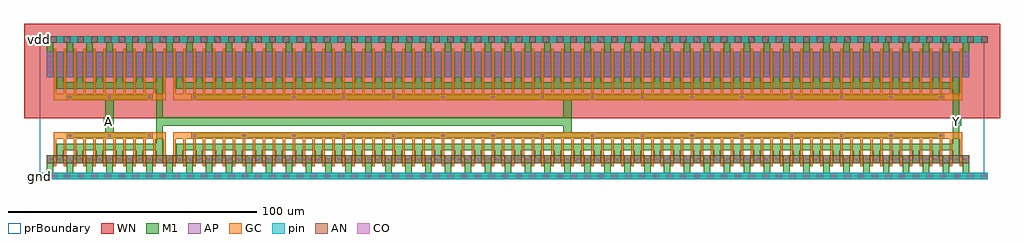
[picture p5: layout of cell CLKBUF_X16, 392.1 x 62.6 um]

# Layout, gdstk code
import gdstk
lib = gdstk.Library(unit=1e-6, precision=1e-09)
def R(c, l, rs):  # rectangles x0, y0, x1, y1
    for r in rs: c.add(gdstk.rectangle(r[:2], r[2:], *l))
def A(c, l, x, y, w, h, nx, ny, dx, dy):  # array of equal rectangles
    R(c, l, [(x+i*dx, y+j*dy, x+i*dx+w, y+j*dy+h) for i in range(nx) for j in range(ny)])
def P(c, l, *ps):  # polygons
    for p in ps: c.add(gdstk.Polygon(p, *l))
AP = (3, 1)
AN = (3, 2)
GC = (8, 1)
CO = (11, 0)
M1 = (13, 0)
pin = (48, 1)
WN = (140, 0)
prBoundary = (235, 0)

clkbuf_x16 = lib.new_cell('CLKBUF_X16')
A(clkbuf_x16, AP, -1.3, -1.3, 2.6, 2.6, 70, 1, 5.5, 0)
R(clkbuf_x16, AP, [(2.8,39.7,373.4,49.9), (2.8,39.7,373.4,49.9)])
A(clkbuf_x16, AN, -1.3, 53.7, 2.6, 2.6, 70, 1, 5.5, 0)
R(clkbuf_x16, AN, [(2.8,5.1,373.4,8.5)])
P(clkbuf_x16, GC, [(5.6,3.9),(5.6,17.7),(50.6,17.7),(50.6,3.9),(49.6,3.9),(49.6,15.1),(46.6,15.1),(46.6,3.9),(45.6,3.9),(45.6,15.1),(42.6,15.1),(42.6,3.9),(41.6,3.9),(41.6,15.1),(38.6,15.1),(38.6,3.9),(37.6,3.9),(37.6,15.1),(34.6,15.1),(34.6,3.9),(33.6,3.9),(33.6,15.1),(30.6,15.1),(30.6,3.9),(29.6,3.9),(29.6,15.1),(26.6,15.1),(26.6,3.9),(25.6,3.9),(25.6,15.1),(22.6,15.1),(22.6,3.9),(21.6,3.9),(21.6,15.1),(18.6,15.1),(18.6,3.9),(17.6,3.9),(17.6,15.1),(14.6,15.1),(14.6,3.9),(13.6,3.9),(13.6,15.1),(10.6,15.1),(10.6,3.9),(9.6,3.9),(9.6,15.1),(6.6,15.1),(6.6,3.9)],
  [(53.6,3.9),(53.6,17.7),(370.6,17.7),(370.6,3.9),(369.6,3.9),(369.6,15.1),(366.6,15.1),(366.6,3.9),(365.6,3.9),(365.6,15.1),(362.6,15.1),(362.6,3.9),(361.6,3.9),(361.6,15.1),(358.6,15.1),(358.6,3.9),(357.6,3.9),(357.6,15.1),(354.6,15.1),(354.6,3.9),(353.6,3.9),(353.6,15.1),(350.6,15.1),(350.6,3.9),(349.6,3.9),(349.6,15.1),(346.6,15.1),(346.6,3.9),(345.6,3.9),(345.6,15.1),(342.6,15.1),(342.6,3.9),(341.6,3.9),(341.6,15.1),(338.6,15.1),(338.6,3.9),(337.6,3.9),(337.6,15.1),(334.6,15.1),(334.6,3.9),(333.6,3.9),(333.6,15.1),(330.6,15.1),(330.6,3.9),(329.6,3.9),(329.6,15.1),(326.6,15.1),(326.6,3.9),(325.6,3.9),(325.6,15.1),(322.6,15.1),(322.6,3.9),(321.6,3.9),(321.6,15.1),(318.6,15.1),(318.6,3.9),(317.6,3.9),(317.6,15.1),(314.6,15.1),(314.6,3.9),(313.6,3.9),(313.6,15.1),(310.6,15.1),(310.6,3.9),(309.6,3.9),(309.6,15.1),(306.6,15.1),(306.6,3.9),(305.6,3.9),(305.6,15.1),(302.6,15.1),(302.6,3.9),(301.6,3.9),(301.6,15.1),(298.6,15.1),(298.6,3.9),(297.6,3.9),(297.6,15.1),(294.6,15.1),(294.6,3.9),(293.6,3.9),(293.6,15.1),(290.6,15.1),(290.6,3.9),(289.6,3.9),(289.6,15.1),(286.6,15.1),(286.6,3.9),(285.6,3.9),(285.6,15.1),(282.6,15.1),(282.6,3.9),(281.6,3.9),(281.6,15.1),(278.6,15.1),(278.6,3.9),(277.6,3.9),(277.6,15.1),(274.6,15.1),(274.6,3.9),(273.6,3.9),(273.6,15.1),(270.6,15.1),(270.6,3.9),(269.6,3.9),(269.6,15.1),(266.6,15.1),(266.6,3.9),(265.6,3.9),(265.6,15.1),(262.6,15.1),(262.6,3.9),(261.6,3.9),(261.6,15.1),(258.6,15.1),(258.6,3.9),(257.6,3.9),(257.6,15.1),(254.6,15.1),(254.6,3.9),(253.6,3.9),(253.6,15.1),(250.6,15.1),(250.6,3.9),(249.6,3.9),(249.6,15.1),(246.6,15.1),(246.6,3.9),(245.6,3.9),(245.6,15.1),(242.6,15.1),(242.6,3.9),(241.6,3.9),(241.6,15.1),(238.6,15.1),(238.6,3.9),(237.6,3.9),(237.6,15.1),(234.6,15.1),(234.6,3.9),(233.6,3.9),(233.6,15.1),(230.6,15.1),(230.6,3.9),(229.6,3.9),(229.6,15.1),(226.6,15.1),(226.6,3.9),(225.6,3.9),(225.6,15.1),(222.6,15.1),(222.6,3.9),(221.6,3.9),(221.6,15.1),(218.6,15.1),(218.6,3.9),(217.6,3.9),(217.6,15.1),(214.6,15.1),(214.6,3.9),(213.6,3.9),(213.6,15.1),(210.6,15.1),(210.6,3.9),(209.6,3.9),(209.6,15.1),(206.6,15.1),(206.6,3.9),(205.6,3.9),(205.6,15.1),(202.6,15.1),(202.6,3.9),(201.6,3.9),(201.6,15.1),(198.6,15.1),(198.6,3.9),(197.6,3.9),(197.6,15.1),(194.6,15.1),(194.6,3.9),(193.6,3.9),(193.6,15.1),(190.6,15.1),(190.6,3.9),(189.6,3.9),(189.6,15.1),(186.6,15.1),(186.6,3.9),(185.6,3.9),(185.6,15.1),(182.6,15.1),(182.6,3.9),(181.6,3.9),(181.6,15.1),(178.6,15.1),(178.6,3.9),(177.6,3.9),(177.6,15.1),(174.6,15.1),(174.6,3.9),(173.6,3.9),(173.6,15.1),(170.6,15.1),(170.6,3.9),(169.6,3.9),(169.6,15.1),(166.6,15.1),(166.6,3.9),(165.6,3.9),(165.6,15.1),(162.6,15.1),(162.6,3.9),(161.6,3.9),(161.6,15.1),(158.6,15.1),(158.6,3.9),(157.6,3.9),(157.6,15.1),(154.6,15.1),(154.6,3.9),(153.6,3.9),(153.6,15.1),(150.6,15.1),(150.6,3.9),(149.6,3.9),(149.6,15.1),(146.6,15.1),(146.6,3.9),(145.6,3.9),(145.6,15.1),(142.6,15.1),(142.6,3.9),(141.6,3.9),(141.6,15.1),(138.6,15.1),(138.6,3.9),(137.6,3.9),(137.6,15.1),(134.6,15.1),(134.6,3.9),(133.6,3.9),(133.6,15.1),(130.6,15.1),(130.6,3.9),(129.6,3.9),(129.6,15.1),(126.6,15.1),(126.6,3.9),(125.6,3.9),(125.6,15.1),(122.6,15.1),(122.6,3.9),(121.6,3.9),(121.6,15.1),(118.6,15.1),(118.6,3.9),(117.6,3.9),(117.6,15.1),(114.6,15.1),(114.6,3.9),(113.6,3.9),(113.6,15.1),(110.6,15.1),(110.6,3.9),(109.6,3.9),(109.6,15.1),(106.6,15.1),(106.6,3.9),(105.6,3.9),(105.6,15.1),(102.6,15.1),(102.6,3.9),(101.6,3.9),(101.6,15.1),(98.6,15.1),(98.6,3.9),(97.6,3.9),(97.6,15.1),(94.6,15.1),(94.6,3.9),(93.6,3.9),(93.6,15.1),(90.6,15.1),(90.6,3.9),(89.6,3.9),(89.6,15.1),(86.6,15.1),(86.6,3.9),(85.6,3.9),(85.6,15.1),(82.6,15.1),(82.6,3.9),(81.6,3.9),(81.6,15.1),(78.6,15.1),(78.6,3.9),(77.6,3.9),(77.6,15.1),(74.6,15.1),(74.6,3.9),(73.6,3.9),(73.6,15.1),(70.6,15.1),(70.6,3.9),(69.6,3.9),(69.6,15.1),(66.6,15.1),(66.6,3.9),(65.6,3.9),(65.6,15.1),(62.6,15.1),(62.6,3.9),(61.6,3.9),(61.6,15.1),(58.6,15.1),(58.6,3.9),(57.6,3.9),(57.6,15.1),(54.6,15.1),(54.6,3.9)],
  [(5.6,30.5),(5.6,51.1),(6.6,51.1),(6.6,33.1),(9.6,33.1),(9.6,51.1),(10.6,51.1),(10.6,33.1),(13.6,33.1),(13.6,51.1),(14.6,51.1),(14.6,33.1),(17.6,33.1),(17.6,51.1),(18.6,51.1),(18.6,33.1),(21.6,33.1),(21.6,51.1),(22.6,51.1),(22.6,33.1),(25.6,33.1),(25.6,51.1),(26.6,51.1),(26.6,33.1),(29.6,33.1),(29.6,51.1),(30.6,51.1),(30.6,33.1),(33.6,33.1),(33.6,51.1),(34.6,51.1),(34.6,33.1),(37.6,33.1),(37.6,51.1),(38.6,51.1),(38.6,33.1),(41.6,33.1),(41.6,51.1),(42.6,51.1),(42.6,33.1),(45.6,33.1),(45.6,51.1),(46.6,51.1),(46.6,33.1),(49.6,33.1),(49.6,51.1),(50.6,51.1),(50.6,30.5)],
  [(53.6,30.5),(53.6,51.1),(54.6,51.1),(54.6,33.1),(57.6,33.1),(57.6,51.1),(58.6,51.1),(58.6,33.1),(61.6,33.1),(61.6,51.1),(62.6,51.1),(62.6,33.1),(65.6,33.1),(65.6,51.1),(66.6,51.1),(66.6,33.1),(69.6,33.1),(69.6,51.1),(70.6,51.1),(70.6,33.1),(73.6,33.1),(73.6,51.1),(74.6,51.1),(74.6,33.1),(77.6,33.1),(77.6,51.1),(78.6,51.1),(78.6,33.1),(81.6,33.1),(81.6,51.1),(82.6,51.1),(82.6,33.1),(85.6,33.1),(85.6,51.1),(86.6,51.1),(86.6,33.1),(89.6,33.1),(89.6,51.1),(90.6,51.1),(90.6,33.1),(93.6,33.1),(93.6,51.1),(94.6,51.1),(94.6,33.1),(97.6,33.1),(97.6,51.1),(98.6,51.1),(98.6,33.1),(101.6,33.1),(101.6,51.1),(102.6,51.1),(102.6,33.1),(105.6,33.1),(105.6,51.1),(106.6,51.1),(106.6,33.1),(109.6,33.1),(109.6,51.1),(110.6,51.1),(110.6,33.1),(113.6,33.1),(113.6,51.1),(114.6,51.1),(114.6,33.1),(117.6,33.1),(117.6,51.1),(118.6,51.1),(118.6,33.1),(121.6,33.1),(121.6,51.1),(122.6,51.1),(122.6,33.1),(125.6,33.1),(125.6,51.1),(126.6,51.1),(126.6,33.1),(129.6,33.1),(129.6,51.1),(130.6,51.1),(130.6,33.1),(133.6,33.1),(133.6,51.1),(134.6,51.1),(134.6,33.1),(137.6,33.1),(137.6,51.1),(138.6,51.1),(138.6,33.1),(141.6,33.1),(141.6,51.1),(142.6,51.1),(142.6,33.1),(145.6,33.1),(145.6,51.1),(146.6,51.1),(146.6,33.1),(149.6,33.1),(149.6,51.1),(150.6,51.1),(150.6,33.1),(153.6,33.1),(153.6,51.1),(154.6,51.1),(154.6,33.1),(157.6,33.1),(157.6,51.1),(158.6,51.1),(158.6,33.1),(161.6,33.1),(161.6,51.1),(162.6,51.1),(162.6,33.1),(165.6,33.1),(165.6,51.1),(166.6,51.1),(166.6,33.1),(169.6,33.1),(169.6,51.1),(170.6,51.1),(170.6,33.1),(173.6,33.1),(173.6,51.1),(174.6,51.1),(174.6,33.1),(177.6,33.1),(177.6,51.1),(178.6,51.1),(178.6,33.1),(181.6,33.1),(181.6,51.1),(182.6,51.1),(182.6,33.1),(185.6,33.1),(185.6,51.1),(186.6,51.1),(186.6,33.1),(189.6,33.1),(189.6,51.1),(190.6,51.1),(190.6,33.1),(193.6,33.1),(193.6,51.1),(194.6,51.1),(194.6,33.1),(197.6,33.1),(197.6,51.1),(198.6,51.1),(198.6,33.1),(201.6,33.1),(201.6,51.1),(202.6,51.1),(202.6,33.1),(205.6,33.1),(205.6,51.1),(206.6,51.1),(206.6,33.1),(209.6,33.1),(209.6,51.1),(210.6,51.1),(210.6,33.1),(213.6,33.1),(213.6,51.1),(214.6,51.1),(214.6,33.1),(217.6,33.1),(217.6,51.1),(218.6,51.1),(218.6,33.1),(221.6,33.1),(221.6,51.1),(222.6,51.1),(222.6,33.1),(225.6,33.1),(225.6,51.1),(226.6,51.1),(226.6,33.1),(229.6,33.1),(229.6,51.1),(230.6,51.1),(230.6,33.1),(233.6,33.1),(233.6,51.1),(234.6,51.1),(234.6,33.1),(237.6,33.1),(237.6,51.1),(238.6,51.1),(238.6,33.1),(241.6,33.1),(241.6,51.1),(242.6,51.1),(242.6,33.1),(245.6,33.1),(245.6,51.1),(246.6,51.1),(246.6,33.1),(249.6,33.1),(249.6,51.1),(250.6,51.1),(250.6,33.1),(253.6,33.1),(253.6,51.1),(254.6,51.1),(254.6,33.1),(257.6,33.1),(257.6,51.1),(258.6,51.1),(258.6,33.1),(261.6,33.1),(261.6,51.1),(262.6,51.1),(262.6,33.1),(265.6,33.1),(265.6,51.1),(266.6,51.1),(266.6,33.1),(269.6,33.1),(269.6,51.1),(270.6,51.1),(270.6,33.1),(273.6,33.1),(273.6,51.1),(274.6,51.1),(274.6,33.1),(277.6,33.1),(277.6,51.1),(278.6,51.1),(278.6,33.1),(281.6,33.1),(281.6,51.1),(282.6,51.1),(282.6,33.1),(285.6,33.1),(285.6,51.1),(286.6,51.1),(286.6,33.1),(289.6,33.1),(289.6,51.1),(290.6,51.1),(290.6,33.1),(293.6,33.1),(293.6,51.1),(294.6,51.1),(294.6,33.1),(297.6,33.1),(297.6,51.1),(298.6,51.1),(298.6,33.1),(301.6,33.1),(301.6,51.1),(302.6,51.1),(302.6,33.1),(305.6,33.1),(305.6,51.1),(306.6,51.1),(306.6,33.1),(309.6,33.1),(309.6,51.1),(310.6,51.1),(310.6,33.1),(313.6,33.1),(313.6,51.1),(314.6,51.1),(314.6,33.1),(317.6,33.1),(317.6,51.1),(318.6,51.1),(318.6,33.1),(321.6,33.1),(321.6,51.1),(322.6,51.1),(322.6,33.1),(325.6,33.1),(325.6,51.1),(326.6,51.1),(326.6,33.1),(329.6,33.1),(329.6,51.1),(330.6,51.1),(330.6,33.1),(333.6,33.1),(333.6,51.1),(334.6,51.1),(334.6,33.1),(337.6,33.1),(337.6,51.1),(338.6,51.1),(338.6,33.1),(341.6,33.1),(341.6,51.1),(342.6,51.1),(342.6,33.1),(345.6,33.1),(345.6,51.1),(346.6,51.1),(346.6,33.1),(349.6,33.1),(349.6,51.1),(350.6,51.1),(350.6,33.1),(353.6,33.1),(353.6,51.1),(354.6,51.1),(354.6,33.1),(357.6,33.1),(357.6,51.1),(358.6,51.1),(358.6,33.1),(361.6,33.1),(361.6,51.1),(362.6,51.1),(362.6,33.1),(365.6,33.1),(365.6,51.1),(366.6,51.1),(366.6,33.1),(369.6,33.1),(369.6,51.1),(370.6,51.1),(370.6,30.5)])
A(clkbuf_x16, CO, -0.5, -0.5, 1, 1, 70, 2, 5.5, 55)
A(clkbuf_x16, CO, 3.6, 6.3, 1, 1, 13, 2, 4, 35)
A(clkbuf_x16, CO, 51.6, 6.3, 1, 1, 81, 2, 4, 35)
A(clkbuf_x16, CO, 11.6, 15.9, 1, 1, 3, 2, 16, 15.4)
A(clkbuf_x16, CO, 61.6, 15.9, 1, 1, 16, 2, 20, 15.4)
A(clkbuf_x16, CO, 51.6, 41.3, 1, 1, 1, 4, 0, 2)
A(clkbuf_x16, CO, 371.6, 41.3, 1, 1, 1, 4, 0, 2)
A(clkbuf_x16, CO, 3.6, 43.3, 1, 1, 13, 3, 4, 2)
A(clkbuf_x16, CO, 51.6, 43.3, 1, 1, 81, 3, 4, 2)
P(clkbuf_x16, M1, [(2.8,39.7),(2.8,53.7),(-1.3,53.7),(-1.3,56.3),(380.8,56.3),(380.8,53.7),(373.4,53.7),(373.4,39.7),(370.8,39.7),(370.8,53.7),(365.4,53.7),(365.4,39.7),(362.8,39.7),(362.8,53.7),(357.4,53.7),(357.4,39.7),(354.8,39.7),(354.8,53.7),(349.4,53.7),(349.4,39.7),(346.8,39.7),(346.8,53.7),(341.4,53.7),(341.4,39.7),(338.8,39.7),(338.8,53.7),(333.4,53.7),(333.4,39.7),(330.8,39.7),(330.8,53.7),(325.4,53.7),(325.4,39.7),(322.8,39.7),(322.8,53.7),(317.4,53.7),(317.4,39.7),(314.8,39.7),(314.8,53.7),(309.4,53.7),(309.4,39.7),(306.8,39.7),(306.8,53.7),(301.4,53.7),(301.4,39.7),(298.8,39.7),(298.8,53.7),(293.4,53.7),(293.4,39.7),(290.8,39.7),(290.8,53.7),(285.4,53.7),(285.4,39.7),(282.8,39.7),(282.8,53.7),(277.4,53.7),(277.4,39.7),(274.8,39.7),(274.8,53.7),(269.4,53.7),(269.4,39.7),(266.8,39.7),(266.8,53.7),(261.4,53.7),(261.4,39.7),(258.8,39.7),(258.8,53.7),(253.4,53.7),(253.4,39.7),(250.8,39.7),(250.8,53.7),(245.4,53.7),(245.4,39.7),(242.8,39.7),(242.8,53.7),(237.4,53.7),(237.4,39.7),(234.8,39.7),(234.8,53.7),(229.4,53.7),(229.4,39.7),(226.8,39.7),(226.8,53.7),(221.4,53.7),(221.4,39.7),(218.8,39.7),(218.8,53.7),(213.4,53.7),(213.4,39.7),(210.8,39.7),(210.8,53.7),(205.4,53.7),(205.4,39.7),(202.8,39.7),(202.8,53.7),(197.4,53.7),(197.4,39.7),(194.8,39.7),(194.8,53.7),(189.4,53.7),(189.4,39.7),(186.8,39.7),(186.8,53.7),(181.4,53.7),(181.4,39.7),(178.8,39.7),(178.8,53.7),(173.4,53.7),(173.4,39.7),(170.8,39.7),(170.8,53.7),(165.4,53.7),(165.4,39.7),(162.8,39.7),(162.8,53.7),(157.4,53.7),(157.4,39.7),(154.8,39.7),(154.8,53.7),(149.4,53.7),(149.4,39.7),(146.8,39.7),(146.8,53.7),(141.4,53.7),(141.4,39.7),(138.8,39.7),(138.8,53.7),(133.4,53.7),(133.4,39.7),(130.8,39.7),(130.8,53.7),(125.4,53.7),(125.4,39.7),(122.8,39.7),(122.8,53.7),(117.4,53.7),(117.4,39.7),(114.8,39.7),(114.8,53.7),(109.4,53.7),(109.4,39.7),(106.8,39.7),(106.8,53.7),(101.4,53.7),(101.4,39.7),(98.8,39.7),(98.8,53.7),(93.4,53.7),(93.4,39.7),(90.8,39.7),(90.8,53.7),(85.4,53.7),(85.4,39.7),(82.8,39.7),(82.8,53.7),(77.4,53.7),(77.4,39.7),(74.8,39.7),(74.8,53.7),(69.4,53.7),(69.4,39.7),(66.8,39.7),(66.8,53.7),(61.4,53.7),(61.4,39.7),(58.8,39.7),(58.8,53.7),(53.4,53.7),(53.4,39.7),(50.8,39.7),(50.8,53.7),(45.4,53.7),(45.4,39.7),(42.8,39.7),(42.8,53.7),(37.4,53.7),(37.4,39.7),(34.8,39.7),(34.8,53.7),(29.4,53.7),(29.4,39.7),(26.8,39.7),(26.8,53.7),(21.4,53.7),(21.4,39.7),(18.8,39.7),(18.8,53.7),(13.4,53.7),(13.4,39.7),(10.8,39.7),(10.8,53.7),(5.4,53.7),(5.4,39.7)],
  [(-1.3,-1.3),(-1.3,1.3),(2.8,1.3),(2.8,8.5),(5.4,8.5),(5.4,1.3),(10.8,1.3),(10.8,8.5),(13.4,8.5),(13.4,1.3),(18.8,1.3),(18.8,8.5),(21.4,8.5),(21.4,1.3),(26.8,1.3),(26.8,8.5),(29.4,8.5),(29.4,1.3),(34.8,1.3),(34.8,8.5),(37.4,8.5),(37.4,1.3),(42.8,1.3),(42.8,8.5),(45.4,8.5),(45.4,1.3),(50.8,1.3),(50.8,8.5),(53.4,8.5),(53.4,1.3),(58.8,1.3),(58.8,8.5),(61.4,8.5),(61.4,1.3),(66.8,1.3),(66.8,8.5),(69.4,8.5),(69.4,1.3),(74.8,1.3),(74.8,8.5),(77.4,8.5),(77.4,1.3),(82.8,1.3),(82.8,8.5),(85.4,8.5),(85.4,1.3),(90.8,1.3),(90.8,8.5),(93.4,8.5),(93.4,1.3),(98.8,1.3),(98.8,8.5),(101.4,8.5),(101.4,1.3),(106.8,1.3),(106.8,8.5),(109.4,8.5),(109.4,1.3),(114.8,1.3),(114.8,8.5),(117.4,8.5),(117.4,1.3),(122.8,1.3),(122.8,8.5),(125.4,8.5),(125.4,1.3),(130.8,1.3),(130.8,8.5),(133.4,8.5),(133.4,1.3),(138.8,1.3),(138.8,8.5),(141.4,8.5),(141.4,1.3),(146.8,1.3),(146.8,8.5),(149.4,8.5),(149.4,1.3),(154.8,1.3),(154.8,8.5),(157.4,8.5),(157.4,1.3),(162.8,1.3),(162.8,8.5),(165.4,8.5),(165.4,1.3),(170.8,1.3),(170.8,8.5),(173.4,8.5),(173.4,1.3),(178.8,1.3),(178.8,8.5),(181.4,8.5),(181.4,1.3),(186.8,1.3),(186.8,8.5),(189.4,8.5),(189.4,1.3),(194.8,1.3),(194.8,8.5),(197.4,8.5),(197.4,1.3),(202.8,1.3),(202.8,8.5),(205.4,8.5),(205.4,1.3),(210.8,1.3),(210.8,8.5),(213.4,8.5),(213.4,1.3),(218.8,1.3),(218.8,8.5),(221.4,8.5),(221.4,1.3),(226.8,1.3),(226.8,8.5),(229.4,8.5),(229.4,1.3),(234.8,1.3),(234.8,8.5),(237.4,8.5),(237.4,1.3),(242.8,1.3),(242.8,8.5),(245.4,8.5),(245.4,1.3),(250.8,1.3),(250.8,8.5),(253.4,8.5),(253.4,1.3),(258.8,1.3),(258.8,8.5),(261.4,8.5),(261.4,1.3),(266.8,1.3),(266.8,8.5),(269.4,8.5),(269.4,1.3),(274.8,1.3),(274.8,8.5),(277.4,8.5),(277.4,1.3),(282.8,1.3),(282.8,8.5),(285.4,8.5),(285.4,1.3),(290.8,1.3),(290.8,8.5),(293.4,8.5),(293.4,1.3),(298.8,1.3),(298.8,8.5),(301.4,8.5),(301.4,1.3),(306.8,1.3),(306.8,8.5),(309.4,8.5),(309.4,1.3),(314.8,1.3),(314.8,8.5),(317.4,8.5),(317.4,1.3),(322.8,1.3),(322.8,8.5),(325.4,8.5),(325.4,1.3),(330.8,1.3),(330.8,8.5),(333.4,8.5),(333.4,1.3),(338.8,1.3),(338.8,8.5),(341.4,8.5),(341.4,1.3),(346.8,1.3),(346.8,8.5),(349.4,8.5),(349.4,1.3),(354.8,1.3),(354.8,8.5),(357.4,8.5),(357.4,1.3),(362.8,1.3),(362.8,8.5),(365.4,8.5),(365.4,1.3),(370.8,1.3),(370.8,8.5),(373.4,8.5),(373.4,1.3),(380.8,1.3),(380.8,-1.3)],
  [(10.8,15.1),(10.8,17.7),(13.4,17.7),(13.4,17.4),(26.4,17.4),(26.4,20.3),(25.8,20.3),(25.8,23.7),(26.4,23.7),(26.4,30.8),(13.4,30.8),(13.4,30.5),(10.8,30.5),(10.8,33.1),(13.4,33.1),(13.4,32.8),(26.8,32.8),(26.8,33.1),(29.4,33.1),(29.4,32.8),(42.8,32.8),(42.8,33.1),(45.4,33.1),(45.4,30.5),(42.8,30.5),(42.8,30.8),(29.8,30.8),(29.8,17.4),(42.8,17.4),(42.8,17.7),(45.4,17.7),(45.4,15.1),(42.8,15.1),(42.8,15.4),(29.4,15.4),(29.4,15.1),(26.8,15.1),(26.8,15.4),(13.4,15.4),(13.4,15.1)],
  [(6.8,5.1),(6.8,13.1),(46.8,13.1),(46.8,35.1),(6.8,35.1),(6.8,49.9),(9.4,49.9),(9.4,37.7),(14.8,37.7),(14.8,49.9),(17.4,49.9),(17.4,37.7),(22.8,37.7),(22.8,49.9),(25.4,49.9),(25.4,37.7),(30.8,37.7),(30.8,49.9),(33.4,49.9),(33.4,37.7),(38.8,37.7),(38.8,49.9),(41.4,49.9),(41.4,37.7),(46.8,37.7),(46.8,49.9),(49.4,49.9),(49.4,23.7),(210.4,23.7),(210.4,30.8),(203.4,30.8),(203.4,30.5),(200.8,30.5),(200.8,30.8),(183.4,30.8),(183.4,30.5),(180.8,30.5),(180.8,30.8),(163.4,30.8),(163.4,30.5),(160.8,30.5),(160.8,30.8),(143.4,30.8),(143.4,30.5),(140.8,30.5),(140.8,30.8),(123.4,30.8),(123.4,30.5),(120.8,30.5),(120.8,30.8),(103.4,30.8),(103.4,30.5),(100.8,30.5),(100.8,30.8),(83.4,30.8),(83.4,30.5),(80.8,30.5),(80.8,30.8),(63.4,30.8),(63.4,30.5),(60.8,30.5),(60.8,33.1),(63.4,33.1),(63.4,32.8),(80.8,32.8),(80.8,33.1),(83.4,33.1),(83.4,32.8),(100.8,32.8),(100.8,33.1),(103.4,33.1),(103.4,32.8),(120.8,32.8),(120.8,33.1),(123.4,33.1),(123.4,32.8),(140.8,32.8),(140.8,33.1),(143.4,33.1),(143.4,32.8),(160.8,32.8),(160.8,33.1),(163.4,33.1),(163.4,32.8),(180.8,32.8),(180.8,33.1),(183.4,33.1),(183.4,32.8),(200.8,32.8),(200.8,33.1),(203.4,33.1),(203.4,32.8),(220.8,32.8),(220.8,33.1),(223.4,33.1),(223.4,32.8),(240.8,32.8),(240.8,33.1),(243.4,33.1),(243.4,32.8),(260.8,32.8),(260.8,33.1),(263.4,33.1),(263.4,32.8),(280.8,32.8),(280.8,33.1),(283.4,33.1),(283.4,32.8),(300.8,32.8),(300.8,33.1),(303.4,33.1),(303.4,32.8),(320.8,32.8),(320.8,33.1),(323.4,33.1),(323.4,32.8),(340.8,32.8),(340.8,33.1),(343.4,33.1),(343.4,32.8),(360.8,32.8),(360.8,33.1),(363.4,33.1),(363.4,30.5),(360.8,30.5),(360.8,30.8),(343.4,30.8),(343.4,30.5),(340.8,30.5),(340.8,30.8),(323.4,30.8),(323.4,30.5),(320.8,30.5),(320.8,30.8),(303.4,30.8),(303.4,30.5),(300.8,30.5),(300.8,30.8),(283.4,30.8),(283.4,30.5),(280.8,30.5),(280.8,30.8),(263.4,30.8),(263.4,30.5),(260.8,30.5),(260.8,30.8),(243.4,30.8),(243.4,30.5),(240.8,30.5),(240.8,30.8),(223.4,30.8),(223.4,30.5),(220.8,30.5),(220.8,30.8),(213.8,30.8),(213.8,17.4),(220.8,17.4),(220.8,17.7),(223.4,17.7),(223.4,17.4),(240.8,17.4),(240.8,17.7),(243.4,17.7),(243.4,17.4),(260.8,17.4),(260.8,17.7),(263.4,17.7),(263.4,17.4),(280.8,17.4),(280.8,17.7),(283.4,17.7),(283.4,17.4),(300.8,17.4),(300.8,17.7),(303.4,17.7),(303.4,17.4),(320.8,17.4),(320.8,17.7),(323.4,17.7),(323.4,17.4),(340.8,17.4),(340.8,17.7),(343.4,17.7),(343.4,17.4),(360.8,17.4),(360.8,17.7),(363.4,17.7),(363.4,15.1),(360.8,15.1),(360.8,15.4),(343.4,15.4),(343.4,15.1),(340.8,15.1),(340.8,15.4),(323.4,15.4),(323.4,15.1),(320.8,15.1),(320.8,15.4),(303.4,15.4),(303.4,15.1),(300.8,15.1),(300.8,15.4),(283.4,15.4),(283.4,15.1),(280.8,15.1),(280.8,15.4),(263.4,15.4),(263.4,15.1),(260.8,15.1),(260.8,15.4),(243.4,15.4),(243.4,15.1),(240.8,15.1),(240.8,15.4),(223.4,15.4),(223.4,15.1),(220.8,15.1),(220.8,15.4),(203.4,15.4),(203.4,15.1),(200.8,15.1),(200.8,15.4),(183.4,15.4),(183.4,15.1),(180.8,15.1),(180.8,15.4),(163.4,15.4),(163.4,15.1),(160.8,15.1),(160.8,15.4),(143.4,15.4),(143.4,15.1),(140.8,15.1),(140.8,15.4),(123.4,15.4),(123.4,15.1),(120.8,15.1),(120.8,15.4),(103.4,15.4),(103.4,15.1),(100.8,15.1),(100.8,15.4),(83.4,15.4),(83.4,15.1),(80.8,15.1),(80.8,15.4),(63.4,15.4),(63.4,15.1),(60.8,15.1),(60.8,17.7),(63.4,17.7),(63.4,17.4),(80.8,17.4),(80.8,17.7),(83.4,17.7),(83.4,17.4),(100.8,17.4),(100.8,17.7),(103.4,17.7),(103.4,17.4),(120.8,17.4),(120.8,17.7),(123.4,17.7),(123.4,17.4),(140.8,17.4),(140.8,17.7),(143.4,17.7),(143.4,17.4),(160.8,17.4),(160.8,17.7),(163.4,17.7),(163.4,17.4),(180.8,17.4),(180.8,17.7),(183.4,17.7),(183.4,17.4),(200.8,17.4),(200.8,17.7),(203.4,17.7),(203.4,17.4),(210.4,17.4),(210.4,20.3),(49.4,20.3),(49.4,5.1),(46.8,5.1),(46.8,10.5),(41.4,10.5),(41.4,5.1),(38.8,5.1),(38.8,10.5),(33.4,10.5),(33.4,5.1),(30.8,5.1),(30.8,10.5),(25.4,10.5),(25.4,5.1),(22.8,5.1),(22.8,10.5),(17.4,10.5),(17.4,5.1),(14.8,5.1),(14.8,10.5),(9.4,10.5),(9.4,5.1)],
  [(54.8,5.1),(54.8,13.1),(366.8,13.1),(366.8,35.1),(54.8,35.1),(54.8,49.9),(57.4,49.9),(57.4,37.7),(62.8,37.7),(62.8,49.9),(65.4,49.9),(65.4,37.7),(70.8,37.7),(70.8,49.9),(73.4,49.9),(73.4,37.7),(78.8,37.7),(78.8,49.9),(81.4,49.9),(81.4,37.7),(86.8,37.7),(86.8,49.9),(89.4,49.9),(89.4,37.7),(94.8,37.7),(94.8,49.9),(97.4,49.9),(97.4,37.7),(102.8,37.7),(102.8,49.9),(105.4,49.9),(105.4,37.7),(110.8,37.7),(110.8,49.9),(113.4,49.9),(113.4,37.7),(118.8,37.7),(118.8,49.9),(121.4,49.9),(121.4,37.7),(126.8,37.7),(126.8,49.9),(129.4,49.9),(129.4,37.7),(134.8,37.7),(134.8,49.9),(137.4,49.9),(137.4,37.7),(142.8,37.7),(142.8,49.9),(145.4,49.9),(145.4,37.7),(150.8,37.7),(150.8,49.9),(153.4,49.9),(153.4,37.7),(158.8,37.7),(158.8,49.9),(161.4,49.9),(161.4,37.7),(166.8,37.7),(166.8,49.9),(169.4,49.9),(169.4,37.7),(174.8,37.7),(174.8,49.9),(177.4,49.9),(177.4,37.7),(182.8,37.7),(182.8,49.9),(185.4,49.9),(185.4,37.7),(190.8,37.7),(190.8,49.9),(193.4,49.9),(193.4,37.7),(198.8,37.7),(198.8,49.9),(201.4,49.9),(201.4,37.7),(206.8,37.7),(206.8,49.9),(209.4,49.9),(209.4,37.7),(214.8,37.7),(214.8,49.9),(217.4,49.9),(217.4,37.7),(222.8,37.7),(222.8,49.9),(225.4,49.9),(225.4,37.7),(230.8,37.7),(230.8,49.9),(233.4,49.9),(233.4,37.7),(238.8,37.7),(238.8,49.9),(241.4,49.9),(241.4,37.7),(246.8,37.7),(246.8,49.9),(249.4,49.9),(249.4,37.7),(254.8,37.7),(254.8,49.9),(257.4,49.9),(257.4,37.7),(262.8,37.7),(262.8,49.9),(265.4,49.9),(265.4,37.7),(270.8,37.7),(270.8,49.9),(273.4,49.9),(273.4,37.7),(278.8,37.7),(278.8,49.9),(281.4,49.9),(281.4,37.7),(286.8,37.7),(286.8,49.9),(289.4,49.9),(289.4,37.7),(294.8,37.7),(294.8,49.9),(297.4,49.9),(297.4,37.7),(302.8,37.7),(302.8,49.9),(305.4,49.9),(305.4,37.7),(310.8,37.7),(310.8,49.9),(313.4,49.9),(313.4,37.7),(318.8,37.7),(318.8,49.9),(321.4,49.9),(321.4,37.7),(326.8,37.7),(326.8,49.9),(329.4,49.9),(329.4,37.7),(334.8,37.7),(334.8,49.9),(337.4,49.9),(337.4,37.7),(342.8,37.7),(342.8,49.9),(345.4,49.9),(345.4,37.7),(350.8,37.7),(350.8,49.9),(353.4,49.9),(353.4,37.7),(358.8,37.7),(358.8,49.9),(361.4,49.9),(361.4,37.7),(366.8,37.7),(366.8,49.9),(369.4,49.9),(369.4,23.7),(370.2,23.7),(370.2,20.3),(369.4,20.3),(369.4,5.1),(366.8,5.1),(366.8,10.5),(361.4,10.5),(361.4,5.1),(358.8,5.1),(358.8,10.5),(353.4,10.5),(353.4,5.1),(350.8,5.1),(350.8,10.5),(345.4,10.5),(345.4,5.1),(342.8,5.1),(342.8,10.5),(337.4,10.5),(337.4,5.1),(334.8,5.1),(334.8,10.5),(329.4,10.5),(329.4,5.1),(326.8,5.1),(326.8,10.5),(321.4,10.5),(321.4,5.1),(318.8,5.1),(318.8,10.5),(313.4,10.5),(313.4,5.1),(310.8,5.1),(310.8,10.5),(305.4,10.5),(305.4,5.1),(302.8,5.1),(302.8,10.5),(297.4,10.5),(297.4,5.1),(294.8,5.1),(294.8,10.5),(289.4,10.5),(289.4,5.1),(286.8,5.1),(286.8,10.5),(281.4,10.5),(281.4,5.1),(278.8,5.1),(278.8,10.5),(273.4,10.5),(273.4,5.1),(270.8,5.1),(270.8,10.5),(265.4,10.5),(265.4,5.1),(262.8,5.1),(262.8,10.5),(257.4,10.5),(257.4,5.1),(254.8,5.1),(254.8,10.5),(249.4,10.5),(249.4,5.1),(246.8,5.1),(246.8,10.5),(241.4,10.5),(241.4,5.1),(238.8,5.1),(238.8,10.5),(233.4,10.5),(233.4,5.1),(230.8,5.1),(230.8,10.5),(225.4,10.5),(225.4,5.1),(222.8,5.1),(222.8,10.5),(217.4,10.5),(217.4,5.1),(214.8,5.1),(214.8,10.5),(209.4,10.5),(209.4,5.1),(206.8,5.1),(206.8,10.5),(201.4,10.5),(201.4,5.1),(198.8,5.1),(198.8,10.5),(193.4,10.5),(193.4,5.1),(190.8,5.1),(190.8,10.5),(185.4,10.5),(185.4,5.1),(182.8,5.1),(182.8,10.5),(177.4,10.5),(177.4,5.1),(174.8,5.1),(174.8,10.5),(169.4,10.5),(169.4,5.1),(166.8,5.1),(166.8,10.5),(161.4,10.5),(161.4,5.1),(158.8,5.1),(158.8,10.5),(153.4,10.5),(153.4,5.1),(150.8,5.1),(150.8,10.5),(145.4,10.5),(145.4,5.1),(142.8,5.1),(142.8,10.5),(137.4,10.5),(137.4,5.1),(134.8,5.1),(134.8,10.5),(129.4,10.5),(129.4,5.1),(126.8,5.1),(126.8,10.5),(121.4,10.5),(121.4,5.1),(118.8,5.1),(118.8,10.5),(113.4,10.5),(113.4,5.1),(110.8,5.1),(110.8,10.5),(105.4,10.5),(105.4,5.1),(102.8,5.1),(102.8,10.5),(97.4,10.5),(97.4,5.1),(94.8,5.1),(94.8,10.5),(89.4,10.5),(89.4,5.1),(86.8,5.1),(86.8,10.5),(81.4,10.5),(81.4,5.1),(78.8,5.1),(78.8,10.5),(73.4,10.5),(73.4,5.1),(70.8,5.1),(70.8,10.5),(65.4,10.5),(65.4,5.1),(62.8,5.1),(62.8,10.5),(57.4,10.5),(57.4,5.1)])
R(clkbuf_x16, pin, [(-1.3,-1.3,380.8,1.3), (26.6,21.1,28.4,22.9), (367.6,21.1,369.4,22.9), (-1.3,53.7,380.8,56.3)])
R(clkbuf_x16, WN, [(-6.3,23.2,385.8,61.3)])
R(clkbuf_x16, prBoundary, [(0,0,379.5,55)])
clkbuf_x16.add(gdstk.Label('A', (27.5,22), layer=48, texttype=0))
clkbuf_x16.add(gdstk.Label('Y', (368.5,22), layer=48, texttype=0))
clkbuf_x16.add(gdstk.Label('vdd', (0,55), layer=48, texttype=0))
clkbuf_x16.add(gdstk.Label('gnd', (0,0), layer=48, texttype=0))

lib.write_gds('CLKBUF_X16.gds')
